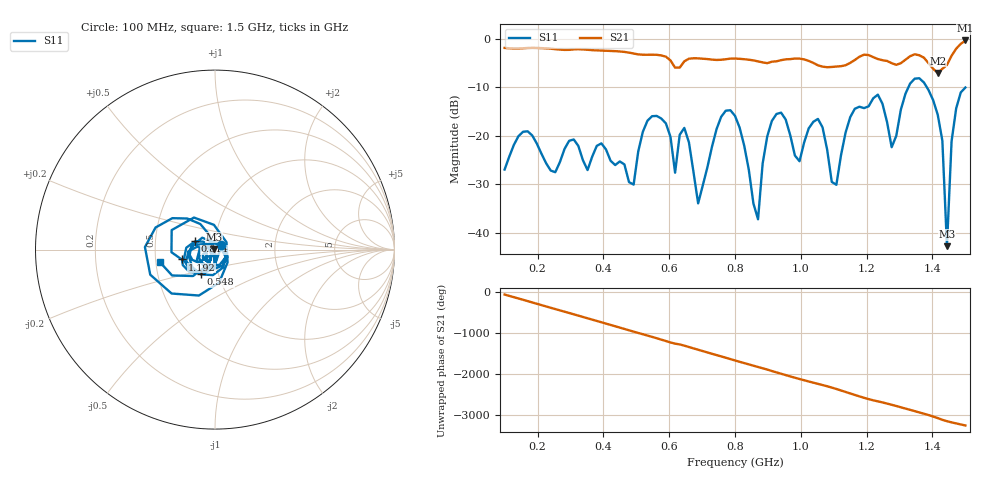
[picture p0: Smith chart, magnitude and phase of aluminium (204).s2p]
! NanoVNA-App
! Date: 2025-09-25 14:56:52
! Start: 100MHz Stop: 1,5GHz Points: 101
! S-Parameter data: F S11 S21 S12 S22
# Hz S RI R 50
!  Frequency  S11_Real  S11_Imag  S21_Real  S21_Imag  S12_Real  S12_Imag  S22_Real  S22_Imag
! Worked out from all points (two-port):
!   101 points, 100 MHz to 1.5 GHz, reference 50 ohm
!   highest |S21| = -0.38 dB at 1.5 GHz (marker M1); lowest = -7.1 dB at 1.416 GHz (marker M2)
!   |S21| within 3 dB of the highest: start of sweep to 566.8 MHz; 1.459 GHz to end of sweep (the widest 2 of 4)
!   lowest |S11| = -42.7 dB at 1.444 GHz (marker M3), VSWR 1.01, Z = 49.4 + j0.4 ohm
!   |S11| at or under -10 dB: start of sweep to 1.327 GHz; 1.383 GHz to end of sweep
!   S12 and S22 are empty: the file has one direction only
!   S11 on the Smith chart (normalised r, x): 100 MHz: 1.07, +0.06; 548 MHz: 0.82, -0.23; 814 MHz: 0.80, +0.07; 1.192 GHz: 0.68, -0.08; 1.5 GHz: 0.53, -0.08
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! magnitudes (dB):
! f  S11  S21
! 100 MHz  -27.0  -1.9
! 338 MHz  -25.1  -2.2
! 492 MHz  -30.1  -3.1
! 548 MHz  -16.0  -3.3
! 576 MHz  -16.5  -3.5
! 618 MHz  -27.6  -6.0
! 646 MHz  -18.4  -4.7
! 688 MHz  -33.9  -4.1
! 800 MHz  -15.9  -4.1
! 814 MHz  -18.3  -4.2
! 870 MHz  -37.2  -4.7
! 912 MHz  -17.0  -4.8
! 1.038 GHz  -17.1  -5.0
! 1.108 GHz  -30.1  -5.8
! 1.192 GHz  -14.3  -3.3
! 1.276 GHz  -22.4  -5.1
! 1.346 GHz  -8.2  -3.2
! 1.416 GHz  -15.7  -7.1
! 1.43 GHz  -21.0  -6.2
! 1.444 GHz  -42.7  -5.4
! 1.458 GHz  -21.2  -3.5
! 1.5 GHz  -10.1  -0.4
